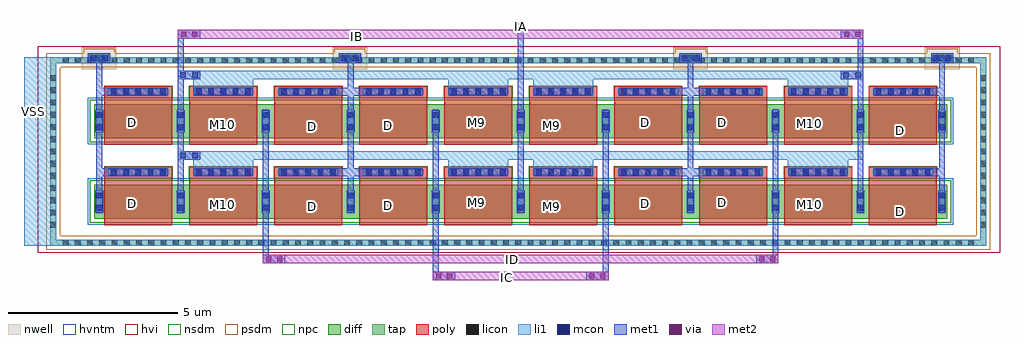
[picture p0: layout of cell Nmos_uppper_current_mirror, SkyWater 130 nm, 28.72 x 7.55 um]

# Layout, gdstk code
import gdstk
lib = gdstk.Library(unit=1e-6, precision=1e-09)
def R(c, l, rs):  # rectangles x0, y0, x1, y1
    for r in rs: c.add(gdstk.rectangle(r[:2], r[2:], *l))
def A(c, l, x, y, w, h, nx, ny, dx, dy):  # array of equal rectangles
    R(c, l, [(x+i*dx, y+j*dy, x+i*dx+w, y+j*dy+h) for i in range(nx) for j in range(ny)])
def P(c, l, *ps):  # polygons
    for p in ps: c.add(gdstk.Polygon(p, *l))
nwell = (64, 20)
diff = (65, 20)
tap = (65, 44)
poly = (66, 20)
licon = (66, 44)
li1 = (67, 20)
mcon = (67, 44)
met1 = (68, 20)
via = (68, 44)
met2 = (69, 20)
hvi = (75, 20)
nsdm = (93, 44)
psdm = (94, 20)
npc = (95, 20)
hvntm = (125, 20)

nfet = lib.new_cell('nfet')
R(nfet, diff, [(0,0,25.1,1)])
A(nfet, poly, 0.3, -0.2, 2, 1.4, 10, 1, 2.5, 0)
A(nfet, poly, 0.3, 1.2, 2, 0.33, 10, 1, 2.5, 0)
A(nfet, licon, 2.465, 0.235, 0.17, 0.17, 9, 2, 2.5, 0.36)
A(nfet, licon, 0.495, 1.28, 0.17, 0.17, 5, 1, 0.36, 0)
A(nfet, licon, 2.995, 1.28, 0.17, 0.17, 5, 1, 0.36, 0)
A(nfet, licon, 5.495, 1.28, 0.17, 0.17, 5, 1, 0.36, 0)
A(nfet, licon, 7.995, 1.28, 0.17, 0.17, 5, 1, 0.36, 0)
A(nfet, licon, 10.495, 1.28, 0.17, 0.17, 5, 1, 0.36, 0)
A(nfet, licon, 12.995, 1.28, 0.17, 0.17, 5, 1, 0.36, 0)
A(nfet, licon, 15.495, 1.28, 0.17, 0.17, 5, 1, 0.36, 0)
A(nfet, licon, 17.995, 1.28, 0.17, 0.17, 5, 1, 0.36, 0)
A(nfet, licon, 20.495, 1.28, 0.17, 0.17, 5, 1, 0.36, 0)
A(nfet, licon, 22.995, 1.28, 0.17, 0.17, 5, 1, 0.36, 0)
R(nfet, licon, [(0.065,0.235,0.235,0.405), (24.865,0.235,25.035,0.405), (0.065,0.595,0.235,0.765), (24.865,0.595,25.035,0.765)])
A(nfet, li1, 2.465, 0.155, 0.17, 0.69, 9, 1, 2.5, 0)
A(nfet, li1, 0.415, 1.28, 1.77, 0.17, 10, 1, 2.5, 0)
R(nfet, li1, [(0.065,0.155,0.235,0.845), (24.865,0.155,25.035,0.845)])
A(nfet, mcon, 2.465, 0.235, 0.17, 0.17, 9, 2, 2.5, 0.36)
A(nfet, mcon, 0.495, 1.28, 0.17, 0.17, 5, 1, 0.36, 0)
A(nfet, mcon, 2.995, 1.28, 0.17, 0.17, 5, 1, 0.36, 0)
A(nfet, mcon, 5.495, 1.28, 0.17, 0.17, 5, 1, 0.36, 0)
A(nfet, mcon, 7.995, 1.28, 0.17, 0.17, 5, 1, 0.36, 0)
A(nfet, mcon, 10.495, 1.28, 0.17, 0.17, 5, 1, 0.36, 0)
A(nfet, mcon, 12.995, 1.28, 0.17, 0.17, 5, 1, 0.36, 0)
A(nfet, mcon, 15.495, 1.28, 0.17, 0.17, 5, 1, 0.36, 0)
A(nfet, mcon, 17.995, 1.28, 0.17, 0.17, 5, 1, 0.36, 0)
A(nfet, mcon, 20.495, 1.28, 0.17, 0.17, 5, 1, 0.36, 0)
A(nfet, mcon, 22.995, 1.28, 0.17, 0.17, 5, 1, 0.36, 0)
R(nfet, mcon, [(0.065,0.235,0.235,0.405), (24.865,0.235,25.035,0.405), (0.065,0.595,0.235,0.765), (24.865,0.595,25.035,0.765)])
A(nfet, met1, 2.435, 0.175, 0.23, 0.65, 9, 1, 2.5, 0)
A(nfet, met1, 0.435, 1.25, 1.73, 0.23, 10, 1, 2.5, 0)
R(nfet, met1, [(0.035,0.175,0.265,0.825), (24.835,0.175,25.065,0.825)])
R(nfet, hvi, [(-0.37,-0.385,25.47,1.725)])
R(nfet, nsdm, [(-0.125,-0.125,25.225,1.125)])
A(nfet, npc, 0.29, 1.19, 2.02, 0.35, 10, 1, 2.5, 0)
R(nfet, hvntm, [(-0.185,-0.185,25.285,1.185)])

vias_gen = lib.new_cell('vias_gen')
R(vias_gen, li1, [(0,0,0.66,0.26)])
R(vias_gen, mcon, [(0.065,0.045,0.235,0.215), (0.425,0.045,0.595,0.215)])
R(vias_gen, met1, [(0,0,0.66,0.26)])

guard_ring_gen_2 = lib.new_cell('guard_ring_gen$2')
P(guard_ring_gen_2, tap, [(-0.17,-0.17),(-0.17,5.2),(0,5.2),(0,0),(27.2,0),(27.2,5.2),(-0.17,5.2),(-0.17,5.37),(27.37,5.37),(27.37,-0.17)])
A(guard_ring_gen_2, licon, 0.195, -0.17, 0.17, 0.17, 75, 2, 0.36, 5.37)
A(guard_ring_gen_2, licon, -0.17, 0.355, 0.17, 0.17, 1, 13, 0, 0.36)
A(guard_ring_gen_2, licon, 27.2, 0.355, 0.17, 0.17, 1, 13, 0, 0.36)
P(guard_ring_gen_2, li1, [(-0.17,-0.17),(-0.17,5.2),(0,5.2),(0,0),(27.2,0),(27.2,5.2),(-0.17,5.2),(-0.17,5.37),(27.37,5.37),(27.37,-0.17)])
P(guard_ring_gen_2, psdm, [(-0.295,-0.295),(-0.295,5.075),(0.125,5.075),(0.125,0.125),(27.075,0.125),(27.075,5.075),(-0.295,5.075),(-0.295,5.495),(27.495,5.495),(27.495,-0.295)])

vias_gen_3 = lib.new_cell('vias_gen$3')
R(vias_gen_3, nwell, [(-0.18,-0.18,0.84,0.47)])
R(vias_gen_3, diff, [(0,0,0.66,0.29)])
R(vias_gen_3, licon, [(0.245,0.06,0.415,0.23)])
R(vias_gen_3, li1, [(0,0,0.66,0.29)])
R(vias_gen_3, mcon, [(0.065,0.06,0.235,0.23), (0.425,0.06,0.595,0.23)])
R(vias_gen_3, met1, [(0,0,0.66,0.29)])
R(vias_gen_3, psdm, [(-0.125,-0.125,0.785,0.415)])

vias_gen_2 = lib.new_cell('vias_gen$2')
R(vias_gen_2, met1, [(0,0,0.66,0.26)])
R(vias_gen_2, via, [(0.095,0.055,0.245,0.205), (0.415,0.055,0.565,0.205)])
R(vias_gen_2, met2, [(0,0,0.66,0.26)])

nmos_uppper_current_mirr = lib.new_cell('Nmos_uppper_current_mirror')
R(nmos_uppper_current_mirr, li1, [(-2.445,-3.135,-1.67,2.405), (2.535,-0.895,4.305,-0.355), (10.035,-0.895,11.805,-0.355), (12.535,-0.895,14.305,-0.355), (20.035,-0.895,21.805,-0.355), (2.745,-0.615,22.245,-0.355), (2.535,1.475,4.305,2.015), (10.035,1.475,11.805,2.015), (12.535,1.475,14.305,2.015), (20.035,1.475,21.805,2.015), (2.745,1.755,22.245,2.015)])
R(nmos_uppper_current_mirr, met1, [(14.585,-4.045,14.755,0.805), (9.585,-4,9.755,0.79), (4.585,-3.66,4.755,0.85), (19.585,-3.66,19.755,0.795), (9.585,-2.73,9.755,-1.58), (14.585,-2.73,14.755,-1.58), (19.585,-2.725,19.755,-1.575), (4.585,-2.67,4.755,-1.52), (7.085,-1.825,7.255,2.295), (12.085,-1.81,12.255,3.395), (17.085,-1.765,17.255,2.405), (2.085,-1.605,2.255,3.215), (22.085,-1.6,22.255,1.15), (-0.315,-1.575,-0.145,2.28), (24.485,-1.575,24.655,2.32), (-0.315,-1.095,0.055,-0.865), (6.785,-1.095,7.81,-0.865), (16.785,-1.095,17.555,-0.865), (24.285,-1.095,24.655,-0.865), (7.085,0.545,7.255,2.315), (19.585,0.545,19.755,0.87), (12.085,0.56,12.255,1.555), (17.085,0.605,17.255,1.755), (2.085,0.765,2.255,1.915), (22.085,0.77,22.255,3.215), (-0.315,0.795,-0.145,1.945), (24.485,0.795,24.655,1.945), (-0.315,1.275,0.055,1.505), (6.785,1.275,7.81,1.505), (16.785,1.275,17.555,1.505), (24.285,1.275,24.655,1.505)])
R(nmos_uppper_current_mirr, met2, [(10.235,-4.16,14.755,-3.9), (5.245,-3.66,19.755,-3.4), (2.745,2.955,22.255,3.215)])
R(nmos_uppper_current_mirr, hvi, [(-2.045,-3.35,26.275,2.725)])
nmos_uppper_current_mirr.add(gdstk.Reference(nfet, (-0.38,0.025)))
nmos_uppper_current_mirr.add(gdstk.Reference(vias_gen, (2.085,1.755)))
nmos_uppper_current_mirr.add(gdstk.Reference(nfet, (-0.38,-2.345)))
nmos_uppper_current_mirr.add(gdstk.Reference(vias_gen, (2.085,-0.615)))
nmos_uppper_current_mirr.add(gdstk.Reference(guard_ring_gen_2, (-1.5,-2.965)))
nmos_uppper_current_mirr.add(gdstk.Reference(vias_gen, (21.595,1.755)))
nmos_uppper_current_mirr.add(gdstk.Reference(vias_gen_3, (24.245,2.235)))
nmos_uppper_current_mirr.add(gdstk.Reference(vias_gen_3, (6.815,2.235)))
nmos_uppper_current_mirr.add(gdstk.Reference(vias_gen_3, (16.84,2.235)))
nmos_uppper_current_mirr.add(gdstk.Reference(vias_gen_2, (2.085,2.955)))
nmos_uppper_current_mirr.add(gdstk.Reference(vias_gen_3, (-0.565,2.235)))
nmos_uppper_current_mirr.add(gdstk.Reference(vias_gen_2, (21.595,2.955)))
nmos_uppper_current_mirr.add(gdstk.Reference(vias_gen_2, (4.585,-3.66)))
nmos_uppper_current_mirr.add(gdstk.Reference(vias_gen_2, (19.095,-3.66)))
nmos_uppper_current_mirr.add(gdstk.Reference(vias_gen_2, (9.585,-4.16)))
nmos_uppper_current_mirr.add(gdstk.Reference(vias_gen_2, (14.095,-4.16)))
nmos_uppper_current_mirr.add(gdstk.Label('D', (23.36,0.245), layer=68, texttype=25))
nmos_uppper_current_mirr.add(gdstk.Label('M10', (20.675,0.445), layer=68, texttype=25))
nmos_uppper_current_mirr.add(gdstk.Label('D', (18.105,0.5), layer=68, texttype=25))
nmos_uppper_current_mirr.add(gdstk.Label('D', (15.845,0.475), layer=68, texttype=25))
nmos_uppper_current_mirr.add(gdstk.Label('M9', (13.09,0.395), layer=68, texttype=25))
nmos_uppper_current_mirr.add(gdstk.Label('M9', (10.865,0.495), layer=68, texttype=25))
nmos_uppper_current_mirr.add(gdstk.Label('D', (8.29,0.405), layer=68, texttype=25))
nmos_uppper_current_mirr.add(gdstk.Label('D', (6.03,0.38), layer=68, texttype=25))
nmos_uppper_current_mirr.add(gdstk.Label('M10', (3.4,0.44), layer=68, texttype=25))
nmos_uppper_current_mirr.add(gdstk.Label('D', (0.755,0.475), layer=68, texttype=25))
nmos_uppper_current_mirr.add(gdstk.Label('D', (23.36,-2.125), layer=68, texttype=25))
nmos_uppper_current_mirr.add(gdstk.Label('M10', (20.675,-1.925), layer=68, texttype=25))
nmos_uppper_current_mirr.add(gdstk.Label('D', (18.105,-1.87), layer=68, texttype=25))
nmos_uppper_current_mirr.add(gdstk.Label('D', (15.845,-1.895), layer=68, texttype=25))
nmos_uppper_current_mirr.add(gdstk.Label('M9', (13.09,-1.975), layer=68, texttype=25))
nmos_uppper_current_mirr.add(gdstk.Label('M9', (10.865,-1.875), layer=68, texttype=25))
nmos_uppper_current_mirr.add(gdstk.Label('D', (8.29,-1.965), layer=68, texttype=25))
nmos_uppper_current_mirr.add(gdstk.Label('D', (6.03,-1.99), layer=68, texttype=25))
nmos_uppper_current_mirr.add(gdstk.Label('M10', (3.4,-1.93), layer=68, texttype=25))
nmos_uppper_current_mirr.add(gdstk.Label('D', (0.755,-1.895), layer=68, texttype=25))
nmos_uppper_current_mirr.add(gdstk.Label('IA', (12.155,3.315), layer=68, texttype=16))
nmos_uppper_current_mirr.add(gdstk.Label('IB', (7.34,3.025), layer=69, texttype=16))
nmos_uppper_current_mirr.add(gdstk.Label('IC', (11.76,-4.065), layer=69, texttype=16))
nmos_uppper_current_mirr.add(gdstk.Label('ID', (11.94,-3.535), layer=69, texttype=16))
nmos_uppper_current_mirr.add(gdstk.Label('VSS', (-2.17,0.81), layer=67, texttype=16))

lib.write_gds('Nmos_uppper_current_mirror.gds')
